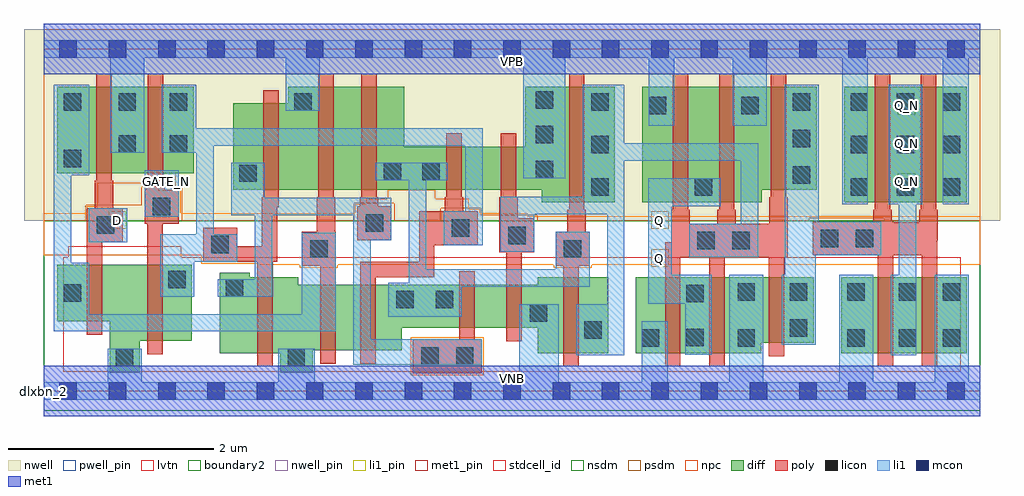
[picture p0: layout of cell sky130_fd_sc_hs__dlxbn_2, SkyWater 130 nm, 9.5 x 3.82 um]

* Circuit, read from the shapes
.subckt sky130_fd_sc_hs__dlxbn_2 D GATE_N Q Q_N VGND VNB VPB VPWR
XM1 VGND D n1 VNB sky130_fd_pr__nfet_01v8_lvt w=0.55 l=0.15
XM2 n2 GATE_N VGND VNB sky130_fd_pr__nfet_01v8_lvt w=0.74 l=0.15
XM3 VGND n2 n3 VNB sky130_fd_pr__nfet_01v8_lvt w=0.74 l=0.15
XM4 n4 n1 VGND VNB sky130_fd_pr__nfet_01v8_lvt w=0.64 l=0.15
XM5 n5 n2 n4 VNB sky130_fd_pr__nfet_01v8_lvt w=0.64 l=0.15
XM6 n6 n3 n5 VNB sky130_fd_pr__nfet_01v8_lvt w=0.42 l=0.15
XM7 VGND n7 n6 VNB sky130_fd_pr__nfet_01v8_lvt w=0.42 l=0.15
XM8 n7 n5 VGND VNB sky130_fd_pr__nfet_01v8_lvt w=0.74 l=0.15
XM9 Q n7 VGND VNB sky130_fd_pr__nfet_01v8_lvt w=0.74 l=0.15 m=2
XM10 n8 n7 VGND VNB sky130_fd_pr__nfet_01v8_lvt w=0.64 l=0.15
XM11 Q_N n8 VGND VNB sky130_fd_pr__nfet_01v8_lvt w=0.74 l=0.15 m=2
XM12 VPWR D n1 VPB sky130_fd_pr__pfet_01v8 w=0.84 l=0.15
XM13 n2 GATE_N VPWR VPB sky130_fd_pr__pfet_01v8 w=0.84 l=0.15
XM14 VPWR n2 n3 VPB sky130_fd_pr__pfet_01v8 w=0.84 l=0.15
XM15 n9 n1 VPWR VPB sky130_fd_pr__pfet_01v8 w=1 l=0.15
XM16 n5 n3 n9 VPB sky130_fd_pr__pfet_01v8 w=1 l=0.15
XM17 n10 n2 n5 VPB sky130_fd_pr__pfet_01v8 w=0.42 l=0.15
XM18 VPWR n7 n10 VPB sky130_fd_pr__pfet_01v8 w=0.42 l=0.15
XM19 n7 n5 VPWR VPB sky130_fd_pr__pfet_01v8 w=1.12 l=0.15
XM20 Q n7 VPWR VPB sky130_fd_pr__pfet_01v8 w=1.12 l=0.15 m=2
XM21 n8 n7 VPWR VPB sky130_fd_pr__pfet_01v8 w=1 l=0.15
XM22 Q_N n8 VPWR VPB sky130_fd_pr__pfet_01v8 w=1.12 l=0.15 m=2
.ends

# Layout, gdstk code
import gdstk
lib = gdstk.Library(unit=1e-6, precision=1e-09)
def R(c, l, rs):  # rectangles x0, y0, x1, y1
    for r in rs: c.add(gdstk.rectangle(r[:2], r[2:], *l))
def A(c, l, x, y, w, h, nx, ny, dx, dy):  # array of equal rectangles
    R(c, l, [(x+i*dx, y+j*dy, x+i*dx+w, y+j*dy+h) for i in range(nx) for j in range(ny)])
def P(c, l, *ps):  # polygons
    for p in ps: c.add(gdstk.Polygon(p, *l))
nwell_pin = (64, 16)
nwell = (64, 20)
diff = (65, 20)
poly = (66, 20)
licon = (66, 44)
li1_pin = (67, 16)
li1 = (67, 20)
mcon = (67, 44)
met1_pin = (68, 16)
met1 = (68, 20)
stdcell_id = (81, 4)
nsdm = (93, 44)
psdm = (94, 20)
npc = (95, 20)
pwell_pin = (122, 16)
lvtn = (125, 44)
boundary2 = (236, 0)

sky130_fd_sc_hs__dlxbn_2 = lib.new_cell('sky130_fd_sc_hs__dlxbn_2')
R(sky130_fd_sc_hs__dlxbn_2, nwell_pin, [(0,3.085,9.12,3.33)])
R(sky130_fd_sc_hs__dlxbn_2, nwell, [(-0.19,1.66,9.31,3.52)])
R(sky130_fd_sc_hs__dlxbn_2, diff, [(7.765,0.37,8.985,1.11), (7.795,1.84,8.985,2.96), (0.135,2.12,1.46,2.96)])
P(sky130_fd_sc_hs__dlxbn_2, diff, [(1.445,1.23),(0.135,1.23),(0.135,0.68),(0.645,0.68),(0.645,0.18),(0.935,0.18),(0.935,0.49),(1.445,0.49)],
  [(5.495,1.11),(4.81,1.11),(4.81,1.035),(2.48,1.035),(2.48,1.11),(2.005,1.11),(2.005,1.15),(1.715,1.15),(1.715,0.37),(2.305,0.37),(2.305,0.18),(2.62,0.18),(2.62,0.395),(3.485,0.395),(3.485,0.615),(4.81,0.615),(4.81,0.37),(5.495,0.37)],
  [(5.56,2.96),(4.69,2.96),(4.69,2.38),(3.51,2.38),(3.51,2.96),(2.38,2.96),(2.38,2.8),(1.845,2.8),(1.845,1.96),(4.85,1.96),(4.85,1.84),(5.56,1.84)],
  [(7.495,1.11),(5.765,1.11),(5.765,0.37),(6.985,0.37),(6.985,0.47),(7.495,0.47)],
  [(7.525,2.96),(5.83,2.96),(5.83,1.84),(6.99,1.84),(6.99,1.96),(7.525,1.96)])
P(sky130_fd_sc_hs__dlxbn_2, poly, [(1.315,1.96),(1.18,1.96),(1.18,2.045),(1.165,2.045),(1.165,3.09),(1.015,3.09),(1.015,2.045),(1,2.045),(1,1.96),(0.985,1.96),(0.985,1.63),(1.01,1.63),(1.01,0.36),(1.16,0.36),(1.16,1.63),(1.315,1.63)],
  [(2.29,2.93),(2.14,2.93),(2.14,1.885),(2.125,1.885),(2.125,1.41),(1.885,1.41),(1.885,1.59),(1.555,1.59),(1.555,1.26),(2.08,1.26),(2.08,0.24),(2.23,0.24),(2.23,1.26),(2.275,1.26),(2.275,1.79),(2.29,1.79)],
  [(2.845,1.55),(2.84,1.55),(2.84,1.885),(2.825,1.885),(2.825,3.09),(2.675,3.09),(2.675,1.885),(2.66,1.885),(2.66,1.55),(2.515,1.55),(2.515,1.22),(2.695,1.22),(2.695,0.265),(2.845,0.265)],
  [(3.385,1.8),(3.26,1.8),(3.26,1.885),(3.245,1.885),(3.245,3.09),(3.095,3.09),(3.095,1.885),(3.08,1.885),(3.08,1.8),(3.055,1.8),(3.055,1.47),(3.385,1.47)],
  [(4.225,1.75),(4.085,1.75),(4.085,1.885),(4.07,1.885),(4.07,2.51),(3.92,2.51),(3.92,1.885),(3.905,1.885),(3.905,1.75),(3.655,1.75),(3.655,1.26),(3.085,1.26),(3.085,0.265),(3.235,0.265),(3.235,1.11),(3.805,1.11),(3.805,1.42),(4.225,1.42)],
  [(4.265,0.505),(4.195,0.505),(4.195,1.165),(4.045,1.165),(4.045,0.505),(3.595,0.505),(3.595,0.175),(4.265,0.175)],
  [(4.775,1.68),(4.615,1.68),(4.615,1.885),(4.6,1.885),(4.6,2.51),(4.45,2.51),(4.45,1.885),(4.435,1.885),(4.435,1.35),(4.505,1.35),(4.505,0.485),(4.655,0.485),(4.655,1.35),(4.775,1.35)],
  [(5.315,1.55),(5.28,1.55),(5.28,1.765),(5.265,1.765),(5.265,3.09),(5.115,3.09),(5.115,1.765),(5.1,1.765),(5.1,1.55),(4.985,1.55),(4.985,1.22),(5.06,1.22),(5.06,0.24),(5.21,0.24),(5.21,1.22),(5.315,1.22)],
  [(0.77,1.78),(0.68,1.78),(0.68,2.045),(0.665,2.045),(0.665,3.09),(0.515,3.09),(0.515,2.045),(0.5,2.045),(0.5,1.78),(0.42,1.78),(0.42,0.55),(0.57,0.55),(0.57,1.45),(0.77,1.45)],
  [(7.245,1.885),(7.23,1.885),(7.23,3.09),(7.08,3.09),(7.08,1.885),(7.065,1.885),(7.065,1.63),(6.74,1.63),(6.74,1.765),(6.725,1.765),(6.725,3.09),(6.575,3.09),(6.575,1.765),(6.56,1.765),(6.56,1.63),(6.29,1.63),(6.29,1.765),(6.275,1.765),(6.275,3.09),(6.125,3.09),(6.125,1.765),(6.11,1.765),(6.11,1.45),(6.05,1.45),(6.05,0.24),(6.2,0.24),(6.2,1.3),(6.48,1.3),(6.48,0.24),(6.63,0.24),(6.63,1.3),(7.06,1.3),(7.06,0.34),(7.21,0.34),(7.21,1.3),(7.245,1.3)],
  [(8.705,1.765),(8.69,1.765),(8.69,3.09),(8.54,3.09),(8.54,1.765),(8.525,1.765),(8.525,1.645),(8.27,1.645),(8.27,1.65),(8.255,1.65),(8.255,1.765),(8.24,1.765),(8.24,3.09),(8.09,3.09),(8.09,1.765),(8.075,1.765),(8.075,1.65),(7.485,1.65),(7.485,1.32),(8.12,1.32),(8.12,0.24),(8.27,0.24),(8.27,1.32),(8.55,1.32),(8.55,0.24),(8.7,0.24),(8.7,1.47),(8.705,1.47)])
A(sky130_fd_sc_hs__dlxbn_2, licon, 5.33, 1.9, 0.17, 0.17, 1, 3, 0, 0.415)
A(sky130_fd_sc_hs__dlxbn_2, licon, 7.855, 1.9, 0.17, 0.17, 3, 3, 0.45, 0.415)
A(sky130_fd_sc_hs__dlxbn_2, licon, 7.295, 2.02, 0.17, 0.17, 1, 3, 0, 0.355)
A(sky130_fd_sc_hs__dlxbn_2, licon, 4.79, 2.07, 0.17, 0.17, 1, 3, 0, 0.34)
R(sky130_fd_sc_hs__dlxbn_2, licon, [(0.705,0.24,0.875,0.41), (2.375,0.24,2.545,0.41), (3.675,0.255,3.845,0.425), (4.015,0.255,4.185,0.425), (5.825,0.43,5.995,0.6), (6.755,0.43,6.925,0.6), (7.825,0.43,7.995,0.6), (8.325,0.43,8.495,0.6), (8.755,0.43,8.925,0.6), (6.255,0.435,6.425,0.605), (5.265,0.51,5.435,0.68), (7.265,0.53,7.435,0.7), (4.735,0.675,4.905,0.845), (3.435,0.805,3.605,0.975), (3.82,0.805,3.99,0.975), (6.255,0.865,6.425,1.035), (0.195,0.87,0.365,1.04), (6.755,0.88,6.925,1.05), (7.265,0.88,7.435,1.05), (7.825,0.88,7.995,1.05), (8.325,0.88,8.495,1.05), (8.755,0.88,8.925,1.05), (1.775,0.92,1.945,1.09), (1.215,1,1.385,1.17), (2.595,1.3,2.765,1.47), (5.065,1.3,5.235,1.47), (1.635,1.34,1.805,1.51), (6.365,1.38,6.535,1.55), (6.705,1.38,6.875,1.55), (7.565,1.4,7.735,1.57), (7.905,1.4,8.075,1.57), (4.525,1.43,4.695,1.6), (3.975,1.5,4.145,1.67), (0.52,1.53,0.69,1.7), (3.135,1.55,3.305,1.72), (1.065,1.71,1.235,1.88), (6.34,1.9,6.51,2.07), (1.905,2.035,2.075,2.205), (3.31,2.05,3.48,2.22), (3.685,2.05,3.855,2.22), (0.195,2.18,0.365,2.35), (0.73,2.32,0.9,2.49), (1.23,2.32,1.4,2.49), (5.89,2.695,6.06,2.865), (6.79,2.695,6.96,2.865), (0.195,2.73,0.365,2.9), (0.73,2.73,0.9,2.9), (1.23,2.73,1.4,2.9), (2.44,2.73,2.61,2.9)])
A(sky130_fd_sc_hs__dlxbn_2, li1_pin, 8.315, 1.95, 0.17, 0.17, 1, 3, 0, 0.37)
R(sky130_fd_sc_hs__dlxbn_2, li1_pin, [(5.915,1.21,6.085,1.38), (0.635,1.58,0.805,1.75), (5.915,1.58,6.085,1.75), (1.115,1.95,1.285,2.12)])
R(sky130_fd_sc_hs__dlxbn_2, li1, [(0.44,1.45,0.815,1.78), (0.985,1.695,1.315,2.15)])
P(sky130_fd_sc_hs__dlxbn_2, li1, [(3.555,1.055),(3.555,2.05),(3.23,2.05),(3.23,2.22),(3.935,2.22),(3.935,2.05),(3.725,2.05),(3.725,1.185),(4.985,1.185),(4.985,1.55),(5.315,1.55),(5.315,1.015),(4.07,1.015),(4.07,0.725),(3.355,0.725),(3.355,1.055)],
  [(0.65,2.32),(0.65,3.245),(0,3.245),(0,3.415),(9.12,3.415),(9.12,3.245),(9.005,3.245),(9.005,1.82),(8.755,1.82),(8.755,3.245),(8.025,3.245),(8.025,1.82),(7.775,1.82),(7.775,3.245),(7.04,3.245),(7.04,2.58),(6.71,2.58),(6.71,3.245),(6.14,3.245),(6.14,2.58),(5.89,2.58),(5.89,3.245),(5.08,3.245),(5.08,2.07),(4.67,2.07),(4.67,3.245),(2.69,3.245),(2.69,2.73),(2.36,2.73),(2.36,3.245),(0.98,3.245),(0.98,2.32)],
  [(0.625,0.085),(0.625,0.41),(0.955,0.41),(0.955,0.085),(2.285,0.085),(2.285,0.41),(2.64,0.41),(2.64,0.085),(4.63,0.085),(4.63,0.845),(5.015,0.845),(5.015,0.085),(5.825,0.085),(5.825,0.68),(6.075,0.68),(6.075,0.085),(6.675,0.085),(6.675,1.13),(7.005,1.13),(7.005,0.085),(7.745,0.085),(7.745,1.13),(8.075,1.13),(8.075,0.085),(8.675,0.085),(8.675,1.13),(9.005,1.13),(9.005,0.085),(9.12,0.085),(9.12,-0.085),(0,-0.085),(0,0.085)],
  [(6.59,2.07),(5.885,2.07),(5.885,0.85),(6.245,0.85),(6.245,0.355),(6.505,0.355),(6.505,1.13),(6.115,1.13),(6.115,1.8),(6.59,1.8)],
  [(1.135,1.525),(1.485,1.525),(1.485,2.32),(1.15,2.32),(1.15,2.98),(1.485,2.98),(1.485,2.56),(4.275,2.56),(4.275,1.42),(3.895,1.42),(3.895,1.75),(4.105,1.75),(4.105,2.39),(1.655,2.39),(1.655,1.525),(1.885,1.525),(1.885,1.26),(1.465,1.26),(1.465,0.92),(1.135,0.92)],
  [(0.445,0.75),(2.515,0.75),(2.515,1.54),(2.845,1.54),(2.845,0.58),(0.1,0.58),(0.1,2.98),(0.445,2.98),(0.445,2.1),(0.27,2.1),(0.27,1.25),(0.445,1.25)],
  [(3.015,0.255),(3.015,1.71),(2.225,1.71),(2.225,0.92),(1.695,0.92),(1.695,1.09),(2.055,1.09),(2.055,1.71),(1.825,1.71),(1.825,2.22),(2.155,2.22),(2.155,1.88),(3.385,1.88),(3.385,1.47),(3.185,1.47),(3.185,0.505),(4.265,0.505),(4.265,0.255)],
  [(7.545,1.65),(8.155,1.65),(8.155,1.32),(7.515,1.32),(7.515,0.45),(7.185,0.45),(7.185,1.13),(7.215,1.13),(7.215,2.98),(7.545,2.98)],
  [(5.25,1.89),(5.25,2.98),(5.655,2.98),(5.655,2.41),(6.955,2.41),(6.955,1.3),(6.285,1.3),(6.285,1.63),(6.785,1.63),(6.785,2.24),(5.655,2.24),(5.655,0.35),(5.185,0.35),(5.185,0.845),(5.485,0.845),(5.485,1.72),(4.775,1.72),(4.775,1.355),(4.445,1.355),(4.445,1.89)],
  [(8.225,1.82),(8.225,2.98),(8.555,2.98),(8.555,1.82),(8.495,1.82),(8.495,0.35),(8.245,0.35),(8.245,1.13),(8.325,1.13),(8.325,1.82)])
A(sky130_fd_sc_hs__dlxbn_2, mcon, 0.155, -0.085, 0.17, 0.17, 19, 2, 0.48, 3.33)
R(sky130_fd_sc_hs__dlxbn_2, met1_pin, [(0,0,9.12,0.245), (0,3.085,9.12,3.33)])
R(sky130_fd_sc_hs__dlxbn_2, met1, [(0,-0.245,9.12,0.245), (0,3.085,9.12,3.575)])
R(sky130_fd_sc_hs__dlxbn_2, stdcell_id, [(0,0,9.12,3.33)])
R(sky130_fd_sc_hs__dlxbn_2, nsdm, [(0,-0.19,9.12,1.66)])
P(sky130_fd_sc_hs__dlxbn_2, psdm, [(9.12,3.52),(0,3.52),(0,1.66),(0.41,1.66),(0.41,1.81),(0.955,1.81),(0.955,1.99),(1.345,1.99),(1.345,1.66),(3.025,1.66),(3.025,1.83),(3.415,1.83),(3.415,1.66),(3.865,1.66),(3.865,1.78),(4.255,1.78),(4.255,1.71),(4.805,1.71),(4.805,1.66),(7.455,1.66),(7.455,1.68),(8.185,1.68),(8.185,1.66),(9.12,1.66)])
R(sky130_fd_sc_hs__dlxbn_2, npc, [(3.575,0.155,4.285,0.525)])
P(sky130_fd_sc_hs__dlxbn_2, npc, [(9.12,1.7),(4.71,1.7),(4.71,1.73),(4.245,1.73),(4.245,1.77),(4.14,1.77),(4.14,1.87),(3.815,1.87),(3.815,1.96),(3.35,1.96),(3.35,1.87),(3.14,1.87),(3.14,1.82),(3.035,1.82),(3.035,1.73),(1.335,1.73),(1.335,1.98),(1.23,1.98),(1.23,2.03),(0.525,2.03),(0.525,1.8),(0.42,1.8),(0.42,1.73),(0,1.73),(0,1.32),(1.535,1.32),(1.535,1.24),(2.095,1.24),(2.095,1.23),(2.495,1.23),(2.495,1.2),(2.865,1.2),(2.865,1.23),(4.965,1.23),(4.965,1.2),(5.335,1.2),(5.335,1.23),(9.12,1.23)])
R(sky130_fd_sc_hs__dlxbn_2, pwell_pin, [(0,0,9.12,0.245)])
P(sky130_fd_sc_hs__dlxbn_2, lvtn, [(8.93,1.3),(1.34,1.3),(1.34,1.41),(0.24,1.41),(0.24,1.3),(0.19,1.3),(0.19,0.19),(8.93,0.19)])
R(sky130_fd_sc_hs__dlxbn_2, boundary2, [(0,0,9.12,3.33)])
sky130_fd_sc_hs__dlxbn_2.add(gdstk.Label('dlxbn_2', (0,0), layer=83, texttype=44))
sky130_fd_sc_hs__dlxbn_2.add(gdstk.Label('VNB', (4.56,0.123), layer=64, texttype=59))
sky130_fd_sc_hs__dlxbn_2.add(gdstk.Label('VPB', (4.56,3.208), layer=64, texttype=5))
sky130_fd_sc_hs__dlxbn_2.add(gdstk.Label('VPWR', (4.56,3.208), layer=68, texttype=5))
sky130_fd_sc_hs__dlxbn_2.add(gdstk.Label('VGND', (4.56,0.123), layer=68, texttype=5))
sky130_fd_sc_hs__dlxbn_2.add(gdstk.Label('D', (0.72,1.665), layer=67, texttype=5))
sky130_fd_sc_hs__dlxbn_2.add(gdstk.Label('GATE_N', (1.2,2.035), layer=67, texttype=5))
sky130_fd_sc_hs__dlxbn_2.add(gdstk.Label('Q', (6,1.295), layer=67, texttype=5))
sky130_fd_sc_hs__dlxbn_2.add(gdstk.Label('Q', (6,1.665), layer=67, texttype=5))
sky130_fd_sc_hs__dlxbn_2.add(gdstk.Label('Q_N', (8.4,2.035), layer=67, texttype=5))
sky130_fd_sc_hs__dlxbn_2.add(gdstk.Label('Q_N', (8.4,2.405), layer=67, texttype=5))
sky130_fd_sc_hs__dlxbn_2.add(gdstk.Label('Q_N', (8.4,2.775), layer=67, texttype=5))

lib.write_gds('sky130_fd_sc_hs__dlxbn_2.gds')
